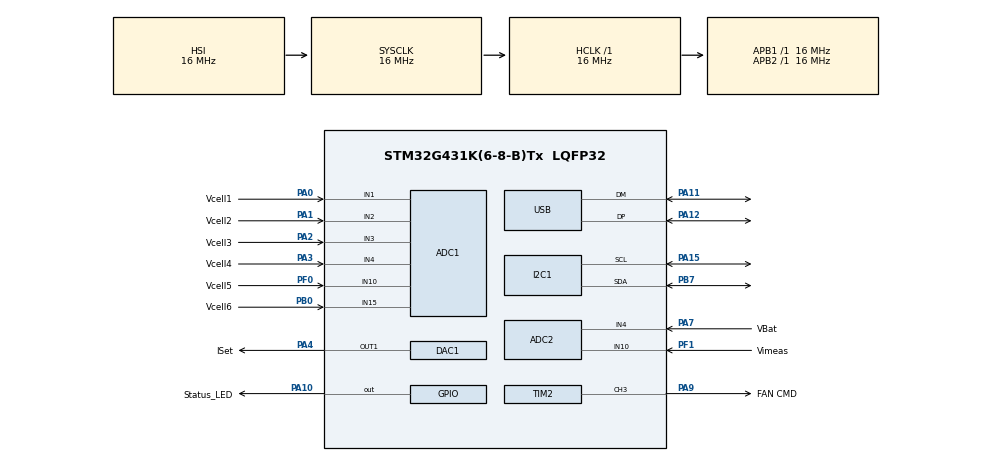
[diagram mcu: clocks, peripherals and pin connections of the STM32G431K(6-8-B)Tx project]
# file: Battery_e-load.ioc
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ADC1.Channel-0\#ChannelRegularConversion=ADC_CHANNEL_1
ADC1.NbrOfConversionFlag=1
ADC1.OffsetNumber-0\#ChannelRegularConversion=ADC_OFFSET_NONE
ADC1.Rank-0\#ChannelRegularConversion=1
ADC1.SamplingTime-0\#ChannelRegularConversion=ADC_SAMPLETIME_2CYCLES_5
ADC1.master=1
ADC2.Channel-0\#ChannelRegularConversion=ADC_CHANNEL_4
ADC2.NbrOfConversionFlag=1
ADC2.OffsetNumber-0\#ChannelRegularConversion=ADC_OFFSET_NONE
ADC2.Rank-0\#ChannelRegularConversion=1
ADC2.SamplingTime-0\#ChannelRegularConversion=ADC_SAMPLETIME_2CYCLES_5
Mcu.Family=STM32G4
Mcu.Name=STM32G431K(6-8-B)Tx
Mcu.Package=LQFP32
NVIC.PriorityGroup=NVIC_PRIORITYGROUP_4
NVIC.USB_LP_IRQn=true\:0\:0\:false\:false\:true\:false\:true
PA0.GPIO_Label=Vcell1
PA0.Mode=IN1-Single-Ended
PA0.Signal=ADC1_IN1
PA1.GPIO_Label=Vcell2
PA1.Mode=IN2-Single-Ended
PA1.Signal=ADC1_IN2
PA10.GPIO_Label=Status_LED
PA10.Signal=GPIO_Output
PA11.Mode=Device
PA11.Signal=USB_DM
PA12.Mode=Device
PA12.Signal=USB_DP
PA13.Mode=Serial_Wire
PA13.Signal=SYS_JTMS-SWDIO
PA14.Mode=Serial_Wire
PA14.Signal=SYS_JTCK-SWCLK
PA15.Mode=I2C
PA15.Signal=I2C1_SCL
PA2.GPIO_Label=Vcell3
PA2.Mode=IN3-Single-Ended
PA2.Signal=ADC1_IN3
PA3.GPIO_Label=Vcell4
PA3.Mode=IN4-Single-Ended
PA3.Signal=ADC1_IN4
PA4.GPIO_Label=ISet
PA4.Signal=COMP_DAC11_group
PA7.GPIO_Label=VBat
PA7.Mode=IN4-Single-Ended
PA7.Signal=ADC2_IN4
PA9.GPIO_Label=FAN CMD
PA9.Signal=S_TIM2_CH3
PB0.GPIO_Label=Vcell6
PB0.Mode=IN15-Single-Ended
PB0.Signal=ADC1_IN15
PB7.Mode=I2C
PB7.Signal=I2C1_SDA
PF0-OSC_IN.GPIO_Label=Vcell5
PF0-OSC_IN.Mode=IN10-Single-Ended
PF0-OSC_IN.Signal=ADC1_IN10
PF1-OSC_OUT.GPIO_Label=Vimeas
PF1-OSC_OUT.Mode=IN10-Single-Ended
PF1-OSC_OUT.Signal=ADC2_IN10
ProjectManager.HeapSize=0x200
ProjectManager.StackSize=0x400
ProjectManager.TargetToolchain=STM32CubeIDE
RCC.AHBFreq_Value=16000000
RCC.APB1Freq_Value=16000000
RCC.APB1TimFreq_Value=16000000
RCC.APB2Freq_Value=16000000
RCC.APB2TimFreq_Value=16000000
RCC.CortexFreq_Value=16000000
RCC.EXTERNAL_CLOCK_VALUE=12288000
RCC.HCLKFreq_Value=16000000
RCC.HSE_VALUE=8000000
RCC.HSI48_VALUE=48000000
RCC.HSI_VALUE=16000000
RCC.LSE_VALUE=32768
RCC.PLLM=RCC_PLLM_DIV2
RCC.PLLN=12
RCC.SYSCLKFreq_VALUE=16000000
RCC.USBFreq_Value=48000000
RCC.VCOOutputFreq_Value=96000000
SH.COMP_DAC11_group.0=DAC1_OUT1,DAC_OUT1
SH.S_TIM2_CH3.0=TIM2_CH3,PWM Generation3 CH3
TIM2.Channel-PWM\ Generation3\ CH3=TIM_CHANNEL_3
USB_DEVICE.CLASS_NAME_FS=CDC
USB_DEVICE.VirtualMode=Cdc
USB_DEVICE.VirtualModeFS=Cdc_FS
VP_ADC1_Vbat_Input.Mode=IN-Vbat
VP_CORDIC_VS_CORDIC.Mode=CORDIC_Activate
VP_SYS_VS_DBSignals.Mode=DisableDeadBatterySignals
VP_USB_DEVICE_VS_USB_DEVICE_CDC_FS.Mode=CDC_FS
board=custom

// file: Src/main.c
/* USER CODE BEGIN Header */
/**
 ******************************************************************************
 * @file           : main.c
 * @brief          : Main program body
 ******************************************************************************
 * @attention
 *
 * <h2><center>&copy; Copyright (c) 2019 STMicroelectronics.
 * All rights reserved.</center></h2>
 *
 * This software component is licensed by ST under BSD 3-Clause license,
 * the "License"; You may not use this file except in compliance with the
 * License. You may obtain a copy of the License at:
 *                        opensource.org/licenses/BSD-3-Clause
 *
 ******************************************************************************
 */
/* USER CODE END Header */

#include "main.h"
#include "adc.h"
#include "cordic.h"
#include "dac.h"
#include "i2c.h"
#include "tim.h"
#include "usb_device.h"
#include "gpio.h"

/* USER CODE BEGIN Includes */
#include "usbd_cdc_if.h"
/* USER CODE END Includes */

void SystemClock_Config(void);

int main(void) {

	/* MCU Configuration--------------------------------------------------------*/

	/* Reset of all peripherals, Initializes the Flash interface and the Systick. */
	HAL_Init();

	/* Configure the system clock */
	SystemClock_Config();

	/* Initialize all configured peripherals */
	MX_GPIO_Init();
	MX_ADC1_Init();
	MX_ADC2_Init();
	MX_CORDIC_Init();
	MX_DAC1_Init();
	MX_I2C1_Init();
	MX_TIM2_Init();
	MX_USB_Device_Init();
	/* USER CODE BEGIN 2 */

	uint16_t counter = 0;
	uint8_t dir = 1;
	HAL_DAC_Start(&hdac1, DAC_CHANNEL_1);
	HAL_GPIO_WritePin(Status_LED_GPIO_Port, Status_LED_Pin, GPIO_PIN_SET);

	/* USER CODE END 2 */

	/* Infinite loop */
	/* USER CODE BEGIN WHILE */
	while (1) {
		if (dir && counter < 4095)
			counter++;
		else if (!dir && counter > 0)
			counter--;
		else {
			dir = !dir;
			HAL_GPIO_TogglePin(Status_LED_GPIO_Port, Status_LED_Pin);
			uint8_t buf[12];
			CDC_Transmit_FS(buf, 12);
		}
		HAL_DAC_SetValue(&hdac1, DAC_CHANNEL_1, DAC_ALIGN_12B_R, counter);

		HAL_Delay(4);
		/* USER CODE END WHILE */

	}
}

void SystemClock_Config(void) {
	RCC_OscInitTypeDef RCC_OscInitStruct = { 0 };
	RCC_ClkInitTypeDef RCC_ClkInitStruct = { 0 };
	RCC_PeriphCLKInitTypeDef PeriphClkInit = { 0 };

	/** Configure the main internal regulator output voltage
	 */
	HAL_PWREx_ControlVoltageScaling(PWR_REGULATOR_VOLTAGE_SCALE1);
	/** Initializes the CPU, AHB and APB busses clocks
	 */
	RCC_OscInitStruct.OscillatorType = RCC_OSCILLATORTYPE_HSI;
	RCC_OscInitStruct.HSIState = RCC_HSI_ON;
	RCC_OscInitStruct.HSICalibrationValue = RCC_HSICALIBRATION_DEFAULT;
	RCC_OscInitStruct.PLL.PLLState = RCC_PLL_ON;
	RCC_OscInitStruct.PLL.PLLSource = RCC_PLLSOURCE_HSI;
	RCC_OscInitStruct.PLL.PLLM = RCC_PLLM_DIV2;
	RCC_OscInitStruct.PLL.PLLN = 12;
	RCC_OscInitStruct.PLL.PLLP = RCC_PLLP_DIV2;
	RCC_OscInitStruct.PLL.PLLQ = RCC_PLLQ_DIV2;
	RCC_OscInitStruct.PLL.PLLR = RCC_PLLR_DIV2;
	if (HAL_RCC_OscConfig(&RCC_OscInitStruct) != HAL_OK) {
		Error_Handler();
	}
	/** Initializes the CPU, AHB and APB busses clocks
	 */
	RCC_ClkInitStruct.ClockType = RCC_CLOCKTYPE_HCLK | RCC_CLOCKTYPE_SYSCLK
			| RCC_CLOCKTYPE_PCLK1 | RCC_CLOCKTYPE_PCLK2;
	RCC_ClkInitStruct.SYSCLKSource = RCC_SYSCLKSOURCE_HSI;
	RCC_ClkInitStruct.AHBCLKDivider = RCC_SYSCLK_DIV1;
	RCC_ClkInitStruct.APB1CLKDivider = RCC_HCLK_DIV1;
	RCC_ClkInitStruct.APB2CLKDivider = RCC_HCLK_DIV1;

	if (HAL_RCC_ClockConfig(&RCC_ClkInitStruct, FLASH_LATENCY_0) != HAL_OK) {
		Error_Handler();
	}
	/** Initializes the peripherals clocks
	 */
	PeriphClkInit.PeriphClockSelection = RCC_PERIPHCLK_I2C1 | RCC_PERIPHCLK_USB
			| RCC_PERIPHCLK_ADC12;
	PeriphClkInit.I2c1ClockSelection = RCC_I2C1CLKSOURCE_PCLK1;
	PeriphClkInit.UsbClockSelection = RCC_USBCLKSOURCE_PLL;
	PeriphClkInit.Adc12ClockSelection = RCC_ADC12CLKSOURCE_SYSCLK;
	if (HAL_RCCEx_PeriphCLKConfig(&PeriphClkInit) != HAL_OK) {
		Error_Handler();
	}
}

void Error_Handler(void) {
}

/************************ (C) COPYRIGHT STMicroelectronics *****END OF FILE****/
